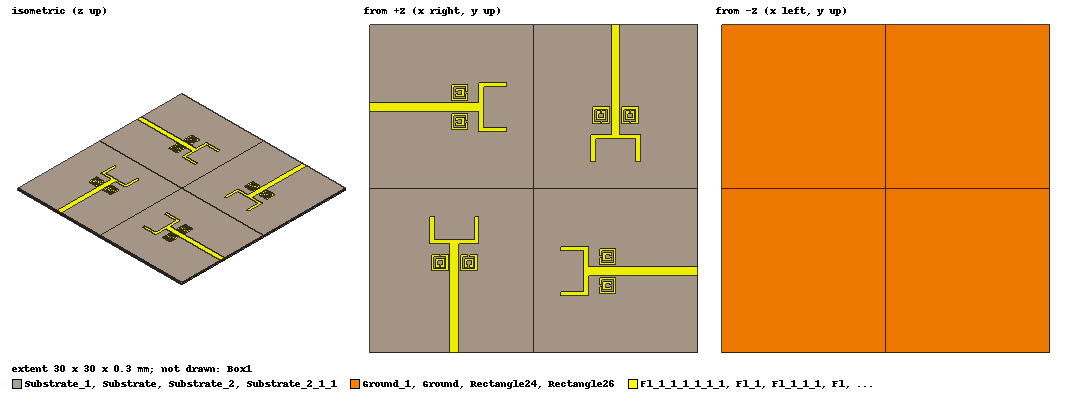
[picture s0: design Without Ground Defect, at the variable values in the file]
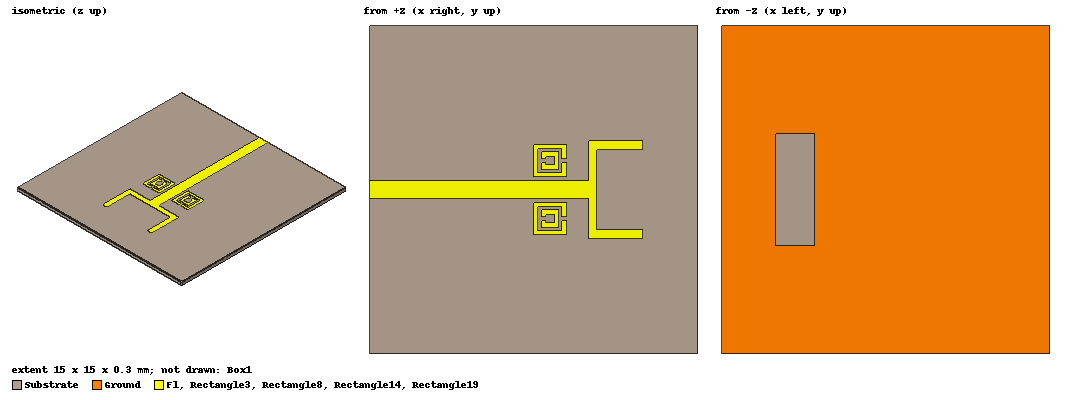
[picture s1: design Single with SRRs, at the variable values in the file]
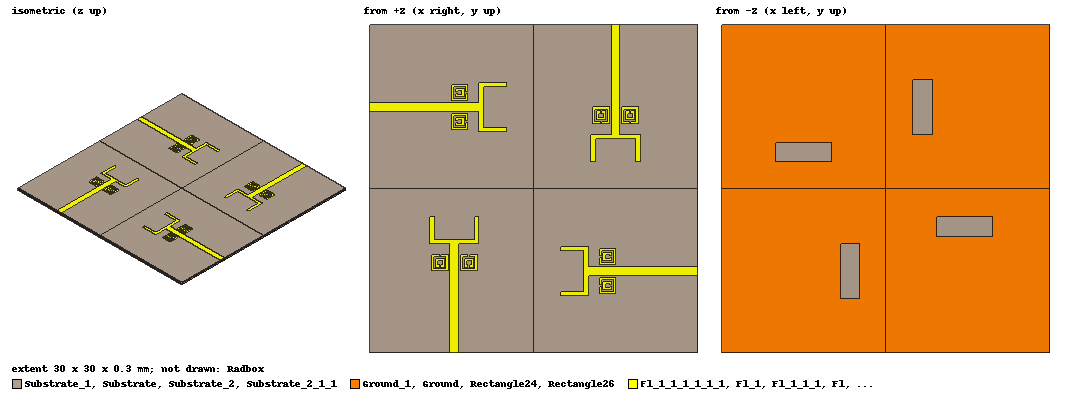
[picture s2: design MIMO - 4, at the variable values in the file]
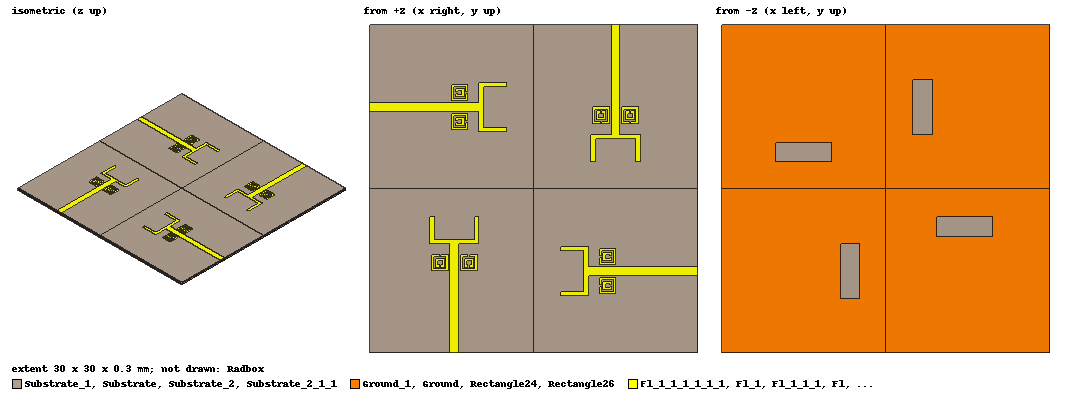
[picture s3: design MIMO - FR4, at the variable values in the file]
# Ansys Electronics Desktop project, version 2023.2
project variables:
  $L = 10mm
  $Y = 0.2mm
  $YL = 7
  $UL = 1mm
  $dist = 2.5Ns_per_m
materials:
  vacuum: permittivity=1
  FR4_epoxy: permittivity=4.4 dielectric_loss_tangent=0.02
  air: permittivity=1.0006 permeability=1.0000004
  Rogers RO4350 (tm): permittivity=3.66 dielectric_loss_tangent=0.004
  pec: conductivity=1e+30
  brass: conductivity=15000000
  Teflon (tm): permittivity=2.1 dielectric_loss_tangent=0.001
  Rogers RO4003 (tm): permittivity=3.55 dielectric_loss_tangent=0.0027

design Without Ground Defect (HFSS, HFSS Modal Network, model units mm)
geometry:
  Ground = rectangle(corner=(0mm, 0mm, 0mm), x_size=15mm, y_size=15mm)
  Substrate [Rogers RO4003 (tm)] = box(corner=(0mm, 0mm, 0mm), size=(15mm, 15mm, 0.3mm))
  Fl = rectangle(corner=(0mm, 7.1mm, 0.3mm), x_size=10mm, y_size=0.8mm)
  Uout = rectangle(corner=(10mm, 5.25mm, 0.3mm), x_size=2.5mm, y_size=4.5mm)
  Usubtracted = rectangle(corner=(10.4mm, 5.65mm, 0.3mm), x_size=2.1mm, y_size=3.7mm)
  Uout.subtract(Usubtracted)
  Fl.unite(Uout)
  Rectangle2 = rectangle(corner=(0mm, 7.9mm, 0.3mm), y_size=-0.8mm, z_size=-0.3mm)
  Rectangle3 = rectangle(corner=(7.5mm, 9.375mm, 0.3mm), x_size=1.5mm, y_size=0.2mm)
  Rectangle4 = rectangle(corner=(7.5mm, 8.075mm, 0.3mm), x_size=0.2mm, y_size=1.5mm)
  Rectangle5 = rectangle(corner=(7.5mm, 8.075mm, 0.3mm), x_size=1.5mm, y_size=0.2mm)
  Rectangle6 = rectangle(corner=(8.8mm, 8.075mm, 0.3mm), x_size=0.2mm, y_size=1.5mm)
  Rectangle7 = rectangle(corner=(8.8mm, 8.75mm, 0.3mm), x_size=0.2mm, y_size=0.15mm)
  Rectangle6.subtract(Rectangle7)
  Rectangle8 = rectangle(corner=(7.5mm, 6.725mm, 0.3mm), x_size=1.5mm, y_size=0.2mm)
  Rectangle9 = rectangle(corner=(7.5mm, 5.425mm, 0.3mm), x_size=0.2mm, y_size=1.5mm)
  Rectangle10 = rectangle(corner=(7.5mm, 5.425mm, 0.3mm), x_size=1.5mm, y_size=0.2mm)
  Rectangle11 = rectangle(corner=(8.8mm, 5.425mm, 0.3mm), x_size=0.2mm, y_size=1.5mm)
  Rectangle12 = rectangle(corner=(8.8mm, 8.95mm, 0.3mm), x_size=0.2mm, y_size=0.15mm)
  Rectangle11.subtract(Rectangle12)
  Rectangle13 = rectangle(corner=(8.8mm, 6.105mm, 0.3mm), x_size=0.2mm, y_size=0.15mm)
  Rectangle11.subtract(Rectangle13)
  Rectangle14 = rectangle(corner=(7.85mm, 8.425mm, 0.3mm), x_size=0.2mm, y_size=0.8mm)
  Rectangle15 = rectangle(corner=(7.85mm, 8.425mm, 0.3mm), x_size=0.8mm, y_size=0.2mm)
  Rectangle16 = rectangle(corner=(7.85mm, 9.025mm, 0.3mm), x_size=0.8mm, y_size=0.2mm)
  Rectangle17 = rectangle(corner=(8.45mm, 8.425mm, 0.3mm), x_size=0.2mm, y_size=0.8mm)
  Rectangle18 = rectangle(corner=(7.85mm, 8.75mm, 0.3mm), x_size=0.2mm, y_size=0.15mm)
  Rectangle14.subtract(Rectangle18)
  Rectangle19 = rectangle(corner=(7.85mm, 5.775mm, 0.3mm), x_size=0.8mm, y_size=0.2mm)
  Rectangle20 = rectangle(corner=(7.85mm, 5.775mm, 0.3mm), x_size=0.2mm, y_size=0.8mm)
  Rectangle21 = rectangle(corner=(7.85mm, 6.375mm, 0.3mm), x_size=0.8mm, y_size=0.2mm)
  Rectangle22 = rectangle(corner=(8.45mm, 5.775mm, 0.3mm), x_size=0.2mm, y_size=0.8mm)
  Rectangle23 = rectangle(corner=(7.85mm, 6.105mm, 0.3mm), x_size=0.2mm, y_size=0.15mm)
  Rectangle20.subtract(Rectangle23)
  Rectangle3.unite(Rectangle4, Rectangle5, Rectangle6)
  Rectangle8.unite(Rectangle9, Rectangle10, Rectangle11)
  Rectangle14.unite(Rectangle15, Rectangle16, Rectangle17)
  Rectangle19.unite(Rectangle20, Rectangle21, Rectangle22)
  coordinate_system RelativeCS1 = origin=(0mm, 0mm, 0mm) x=(1mm, 0mm, 0mm) y=(0mm, 1mm, 0mm)
  coordinate_system RelativeCS2 = origin=(6.7592334mm, 7.5mm, 0.3mm) x=(1mm, 0mm, 0mm) y=(0mm, 1mm, 0mm) in RelativeCS1
  Ground_1 = Ground.duplicate_along_line(step=(15mm, 0mm, 0mm), total=2) in RelativeCS2
  Substrate_1 [Rogers RO4003 (tm)] = Substrate.duplicate_along_line(step=(15mm, 0mm, 0mm), total=2) in RelativeCS2
  Fl_1 = Fl.duplicate_along_line(step=(15mm, 0mm, 0mm), total=2) in RelativeCS2
  Rectangle3_1 = Rectangle3.duplicate_along_line(step=(15mm, 0mm, 0mm), total=2) in RelativeCS2
  Rectangle8_1 = Rectangle8.duplicate_along_line(step=(15mm, 0mm, 0mm), total=2) in RelativeCS2
  Rectangle14_1 = Rectangle14.duplicate_along_line(step=(15mm, 0mm, 0mm), total=2) in RelativeCS2
  Rectangle19_1 = Rectangle19.duplicate_along_line(step=(15mm, 0mm, 0mm), total=2) in RelativeCS2
  [Ground_1, Substrate_1, Fl_1, Rectangle3_1, Rectangle8_1, Rectangle14_1, Rectangle19_1].mirror(point=(8.2407666mm, 7.5mm, 0mm), normal=(-0.70710678mm, -0.70710678mm, 0mm)) in RelativeCS2
  Substrate_2 [Rogers RO4003 (tm)] = Substrate.duplicate_along_line(step=(0mm, -15mm, 0mm), total=2) in RelativeCS2
  Substrate_2_1 = Substrate_2.duplicate_along_line(step=(15mm, -2.6645353e-15mm, 0mm), total=2) in RelativeCS2
  Substrate_2_1.move(15mm, 0mm, 0mm) in RelativeCS2
  Substrate_2_1_1 [Rogers RO4003 (tm)] = Substrate_2_1.duplicate_along_line(step=(-15mm, 0mm, 0mm), total=2) in RelativeCS2
  Substrate_2_1.delete()
  Rectangle24 = rectangle(corner=(8.2407666mm, -22.5mm, -0.3mm), x_size=15mm, y_size=15mm) in RelativeCS2
  Fl_1_1 = Fl_1.duplicate_along_line(step=(-7.5mm, 3.5527137e-15mm, 0mm), total=2) in RelativeCS2
  Rectangle8_1_1 = Rectangle8_1.duplicate_along_line(step=(-7.5mm, 3.5527137e-15mm, 0mm), total=2) in RelativeCS2
  Rectangle19_1_1 = Rectangle19_1.duplicate_along_line(step=(-7.5mm, 3.5527137e-15mm, 0mm), total=2) in RelativeCS2
  Rectangle14_1_1 = Rectangle14_1.duplicate_along_line(step=(-7.5mm, 3.5527137e-15mm, 0mm), total=2) in RelativeCS2
  Rectangle3_1_1 = Rectangle3_1.duplicate_along_line(step=(-7.5mm, 3.5527137e-15mm, 0mm), total=2) in RelativeCS2
  [Fl_1_1, Rectangle19_1_1, Rectangle8_1_1, Rectangle3_1_1, Rectangle14_1_1].move(-1.4210855e-14mm, -30mm, 0mm) in RelativeCS2
  [Fl_1_1, Rectangle8_1_1, Rectangle19_1_1, Rectangle14_1_1, Rectangle3_1_1].rotate(axis=Z, angle=-180deg) in RelativeCS2
  Rectangle26 = rectangle(corner=(8.2407666mm, -7.5mm, -0.3mm), x_size=-15mm, y_size=-15mm) in RelativeCS2
  [Fl_1_1, Rectangle8_1_1, Rectangle19_1_1, Rectangle14_1_1, Rectangle3_1_1].move(-0.25923345mm, -45mm, 0mm) in RelativeCS2
  Fl_1_1_1 = Fl_1_1.duplicate_along_line(step=(9.5mm, 0mm, 0mm), total=2) in RelativeCS2
  Fl_1_1.delete()
  Rectangle8_1_1_1 = Rectangle8_1_1.duplicate_along_line(step=(9.5mm, 0mm, 0mm), total=2) in RelativeCS2
  Rectangle8_1_1.delete()
  Rectangle19_1_1_1 = Rectangle19_1_1.duplicate_along_line(step=(9.5mm, 0mm, 0mm), total=2) in RelativeCS2
  Rectangle19_1_1.delete()
  Rectangle14_1_1_1 = Rectangle14_1_1.duplicate_along_line(step=(9.5mm, 0mm, 0mm), total=2) in RelativeCS2
  Rectangle14_1_1.delete()
  Rectangle3_1_1_1 = Rectangle3_1_1.duplicate_along_line(step=(9.5mm, 0mm, 0mm), total=2) in RelativeCS2
  Rectangle3_1_1.delete()
  Fl_1_1_1_1 = Fl_1_1_1.duplicate_along_line(step=(0mm, -13.5mm, 0mm), total=2) in RelativeCS2
  Rectangle3_1_1_1_1 = Rectangle3_1_1_1.duplicate_along_line(step=(0mm, -13.5mm, 0mm), total=2) in RelativeCS2
  Rectangle14_1_1_1_1 = Rectangle14_1_1_1.duplicate_along_line(step=(0mm, -13.5mm, 0mm), total=2) in RelativeCS2
  Rectangle8_1_1_1_1 = Rectangle8_1_1_1.duplicate_along_line(step=(0mm, -13.5mm, 0mm), total=2) in RelativeCS2
  Rectangle19_1_1_1_1 = Rectangle19_1_1_1.duplicate_along_line(step=(0mm, -13.5mm, 0mm), total=2) in RelativeCS2
  [Fl_1_1_1_1, Rectangle3_1_1_1_1, Rectangle14_1_1_1_1, Rectangle8_1_1_1_1, Rectangle19_1_1_1_1].rotate(axis=Z, angle=90deg) in RelativeCS2
  Fl_1_1_1_1_1 = Fl_1_1_1_1.duplicate_along_line(step=(0mm, -16mm, 0mm), total=2) in RelativeCS2
  Fl_1_1_1_1.delete()
  Rectangle8_1_1_1_1_1 = Rectangle8_1_1_1_1.duplicate_along_line(step=(0mm, -16mm, 0mm), total=2) in RelativeCS2
  Rectangle8_1_1_1_1.delete()
  Rectangle19_1_1_1_1_1 = Rectangle19_1_1_1_1.duplicate_along_line(step=(0mm, -16mm, 0mm), total=2) in RelativeCS2
  Rectangle19_1_1_1_1.delete()
  Rectangle3_1_1_1_1_1 = Rectangle3_1_1_1_1.duplicate_along_line(step=(0mm, -16mm, 0mm), total=2) in RelativeCS2
  Rectangle3_1_1_1_1.delete()
  Rectangle14_1_1_1_1_1 = Rectangle14_1_1_1_1.duplicate_along_line(step=(0mm, -16mm, 0mm), total=2) in RelativeCS2
  Rectangle14_1_1_1_1.delete()
  Fl_1_1_1_1_1_1 = Fl_1_1_1_1_1.duplicate_along_line(step=(-12.759233mm, 0mm, 0mm), total=2) in RelativeCS2
  Fl_1_1_1_1_1.delete()
  Rectangle8_1_1_1_1_1_1 = Rectangle8_1_1_1_1_1.duplicate_along_line(step=(-12.759233mm, 0mm, 0mm), total=2) in RelativeCS2
  Rectangle8_1_1_1_1_1.delete()
  Rectangle19_1_1_1_1_1_1 = Rectangle19_1_1_1_1_1.duplicate_along_line(step=(-12.759233mm, 0mm, 0mm), total=2) in RelativeCS2
  Rectangle19_1_1_1_1_1.delete()
  Rectangle3_1_1_1_1_1_1 = Rectangle3_1_1_1_1_1.duplicate_along_line(step=(-12.759233mm, 0mm, 0mm), total=2) in RelativeCS2
  Rectangle3_1_1_1_1_1.delete()
  Rectangle14_1_1_1_1_1_1 = Rectangle14_1_1_1_1_1.duplicate_along_line(step=(-12.759233mm, 0mm, 0mm), total=2) in RelativeCS2
  Rectangle14_1_1_1_1_1.delete()
  Rectangle28 = rectangle(corner=(0.6mm, -22.5mm, 0mm), z_size=-0.3mm, x_size=0.8mm) in RelativeCS2
  Rectangle29 = rectangle(corner=(23.240767mm, -15.4mm, 0mm), y_size=0.8mm, z_size=-0.3mm) in RelativeCS2
  Rectangle30 = rectangle(corner=(16.140767mm, 7.5mm, 0mm), z_size=-0.3mm, x_size=-0.80076655mm) in RelativeCS2
  Rectangle2_1 = Rectangle2.duplicate_along_line(step=(30mm, -2.3092639e-14mm, 0mm), total=2) in RelativeCS2
  Box1 [vacuum] = box(corner=(-10mm, -26mm, -2mm), size=(38mm, 38mm, 4mm)) in RelativeCS2
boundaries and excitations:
  PerfE2: Perfect E Objects=Fl
  PerfE3: Perfect E Objects=Ground
  PerfE4: Perfect E Objects=Rectangle3
  PerfE5: Perfect E Objects=Rectangle8
  PerfE6: Perfect E Objects=Rectangle14
  PerfE7: Perfect E Objects=Rectangle19
  PerfE8: Perfect E Objects=Fl_1
  PerfE9: Perfect E Objects=Ground_1
  PerfE10: Perfect E Objects=Rectangle3_1
  PerfE11: Perfect E Objects=Rectangle8_1
  PerfE12: Perfect E Objects=Rectangle14_1
  PerfE13: Perfect E Objects=Rectangle19_1
  PerfE31: Perfect E Objects=Rectangle24
  PerfE32: Perfect E Objects=Fl_1_1_1
  PerfE33: Perfect E Objects=Rectangle3_1_1_1
  PerfE34: Perfect E Objects=Rectangle8_1_1_1
  PerfE35: Perfect E Objects=Rectangle14_1_1_1
  PerfE36: Perfect E Objects=Rectangle19_1_1_1
  PerfE37: Perfect E Objects=Rectangle26
  PerfE48: Perfect E Objects=Fl_1_1_1_1_1_1
  PerfE49: Perfect E Objects=Rectangle3_1_1_1_1_1_1
  PerfE50: Perfect E Objects=Rectangle8_1_1_1_1_1_1
  PerfE51: Perfect E Objects=Rectangle14_1_1_1_1_1_1
  PerfE52: Perfect E Objects=Rectangle19_1_1_1_1_1_1
  Rad1: Radiation Objects=Box1
  1: Lumped Port Objects=Rectangle2 LumpedPortType=Modal Modes{Mode1{IntLine{(0, 7.5, 0.15) -> (0, 7.5, 0.3)} CharImp=Zpi RenormImp=50ohm}} Impedance=50ohm
  5: Lumped Port Objects=Rectangle28 LumpedPortType=Modal Modes{Mode1{IntLine{(7.7592334, -15, 0) -> (7.7592334, -15, 0.3)} CharImp=Zpi RenormImp=50ohm}} Impedance=50ohm
  6: Lumped Port Objects=Rectangle29 LumpedPortType=Modal Modes{Mode1{IntLine{(30, -7.5, 0) -> (30, -7.5, 0.3)} CharImp=Zpi RenormImp=50ohm}} Impedance=50ohm
  7: Lumped Port Objects=Rectangle30 LumpedPortType=Modal Modes{Mode1{IntLine{(22.5, 15, 0) -> (22.499617, 15, 0.3)} CharImp=Zpi RenormImp=50ohm}} Impedance=50ohm
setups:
  Setup1: HfssDriven MultipleAdaptiveFreqsSetup{AdaptAt{Frequency=28GHz Delta=0.02} AdaptAt{Frequency=36GHz Delta=0.02}} MaximumPasses=8 MinimumPasses=1 MinimumConvergedPasses=1 PercentRefinement=30 BasisOrder=1 PortAccuracy=2 DrivenSolverType="Direct Solver"
    sweep Sweep: 26GHz to 40GHz, 401 points; Type=Fast SaveFields
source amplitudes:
  1:1: 1V 0deg
  5:1, 6:1, 7:1: 0V 0deg
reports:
  Without SRR: dB(S(1,1)) vs Freq on Setup1 : Sweep
  With SRR: dB(S(1,1)) vs Freq on Setup1 : Sweep
  S Parameter Plot 1: dB(S(1,1)) vs Freq on Setup1 : Sweep
  S Parameter Plot 3: dB(S(1,1)), dB(S(5,1)), dB(S(6,1)), dB(S(7,1)) vs Freq on Setup1 : Sweep

design Single with SRRs (HFSS, HFSS Modal Network, model units mm)
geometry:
  Ground = rectangle(corner=(0mm, 0mm, 0mm), x_size=15mm, y_size=15mm)
  Substrate [Rogers RO4003 (tm)] = box(corner=(0mm, 0mm, 0mm), size=(15mm, 15mm, 0.3mm))
  Fl = rectangle(corner=(0mm, 7.1mm, 0.3mm), x_size=10mm, y_size=0.8mm)
  Uout = rectangle(corner=(10mm, 5.25mm, 0.3mm), x_size=2.5mm, y_size=4.5mm)
  Usubtracted = rectangle(corner=(10.4mm, 5.65mm, 0.3mm), x_size=2.1mm, y_size=3.7mm)
  Uout.subtract(Usubtracted)
  Fl.unite(Uout)
  Rectangle1 = rectangle(corner=(10.725mm, 4.95mm, 0mm), x_size=1.8mm, y_size=5.1mm)
  Rectangle2 = rectangle(corner=(0mm, 7.9mm, 0.3mm), y_size=-0.8mm, z_size=-0.3mm)
  Ground.subtract(Rectangle1)
  Rectangle3 = rectangle(corner=(7.5mm, 9.375mm, 0.3mm), x_size=1.5mm, y_size=0.2mm)
  Rectangle4 = rectangle(corner=(7.5mm, 8.075mm, 0.3mm), x_size=0.2mm, y_size=1.5mm)
  Rectangle5 = rectangle(corner=(7.5mm, 8.075mm, 0.3mm), x_size=1.5mm, y_size=0.2mm)
  Rectangle6 = rectangle(corner=(8.8mm, 8.075mm, 0.3mm), x_size=0.2mm, y_size=1.5mm)
  Rectangle7 = rectangle(corner=(8.8mm, 8.75mm, 0.3mm), x_size=0.2mm, y_size=0.15mm)
  Rectangle6.subtract(Rectangle7)
  Rectangle8 = rectangle(corner=(7.5mm, 6.725mm, 0.3mm), x_size=1.5mm, y_size=0.2mm)
  Rectangle9 = rectangle(corner=(7.5mm, 5.425mm, 0.3mm), x_size=0.2mm, y_size=1.5mm)
  Rectangle10 = rectangle(corner=(7.5mm, 5.425mm, 0.3mm), x_size=1.5mm, y_size=0.2mm)
  Rectangle11 = rectangle(corner=(8.8mm, 5.425mm, 0.3mm), x_size=0.2mm, y_size=1.5mm)
  Rectangle12 = rectangle(corner=(8.8mm, 8.95mm, 0.3mm), x_size=0.2mm, y_size=0.15mm)
  Rectangle11.subtract(Rectangle12)
  Rectangle13 = rectangle(corner=(8.8mm, 6.105mm, 0.3mm), x_size=0.2mm, y_size=0.15mm)
  Rectangle11.subtract(Rectangle13)
  Rectangle14 = rectangle(corner=(7.85mm, 8.425mm, 0.3mm), x_size=0.2mm, y_size=0.8mm)
  Rectangle15 = rectangle(corner=(7.85mm, 8.425mm, 0.3mm), x_size=0.8mm, y_size=0.2mm)
  Rectangle16 = rectangle(corner=(7.85mm, 9.025mm, 0.3mm), x_size=0.8mm, y_size=0.2mm)
  Rectangle17 = rectangle(corner=(8.45mm, 8.425mm, 0.3mm), x_size=0.2mm, y_size=0.8mm)
  Rectangle18 = rectangle(corner=(7.85mm, 8.75mm, 0.3mm), x_size=0.2mm, y_size=0.15mm)
  Rectangle14.subtract(Rectangle18)
  Rectangle19 = rectangle(corner=(7.85mm, 5.775mm, 0.3mm), x_size=0.8mm, y_size=0.2mm)
  Rectangle20 = rectangle(corner=(7.85mm, 5.775mm, 0.3mm), x_size=0.2mm, y_size=0.8mm)
  Rectangle21 = rectangle(corner=(7.85mm, 6.375mm, 0.3mm), x_size=0.8mm, y_size=0.2mm)
  Rectangle22 = rectangle(corner=(8.45mm, 5.775mm, 0.3mm), x_size=0.2mm, y_size=0.8mm)
  Rectangle23 = rectangle(corner=(7.85mm, 6.105mm, 0.3mm), x_size=0.2mm, y_size=0.15mm)
  Rectangle20.subtract(Rectangle23)
  Rectangle3.unite(Rectangle4, Rectangle5, Rectangle6)
  Rectangle8.unite(Rectangle9, Rectangle10, Rectangle11)
  Rectangle14.unite(Rectangle15, Rectangle16, Rectangle17)
  Rectangle19.unite(Rectangle20, Rectangle21, Rectangle22)
  Box1 [vacuum] = box(corner=(-2mm, -2mm, 1mm), size=(20mm, 20mm, -2mm))
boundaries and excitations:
  PerfE2: Perfect E Objects=Fl
  PerfE3: Perfect E Objects=Ground
  PerfE4: Perfect E Objects=Rectangle3
  PerfE5: Perfect E Objects=Rectangle8
  PerfE6: Perfect E Objects=Rectangle14
  PerfE7: Perfect E Objects=Rectangle19
  Rad1: Radiation Objects=Box1
  1: Lumped Port Objects=Rectangle2 LumpedPortType=Modal Modes{Mode1{IntLine{(0, 7.5, 0.15) -> (0, 7.5, 0.3)} CharImp=Zpi RenormImp=50ohm}} Impedance=50ohm
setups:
  Setup1: HfssDriven MultipleAdaptiveFreqsSetup{AdaptAt{Frequency=28GHz Delta=0.02} AdaptAt{Frequency=36GHz Delta=0.02}} MaximumPasses=8 MinimumPasses=1 MinimumConvergedPasses=1 PercentRefinement=30 BasisOrder=1 PortAccuracy=2 DrivenSolverType="Direct Solver"
    sweep Sweep: 26GHz to 40GHz, 401 points; Type=Fast SaveFields
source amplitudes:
  1:1: 1V 0deg
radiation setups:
  Infinite Sphere1: Infinite Sphere Theta=0deg..360deg step 2deg Phi=-180deg..180deg step 2deg
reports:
  With SRR: dB(S(1,1)) vs Freq on Setup1 : Sweep
  S Parameter Plot 1: dB(S(1,1)) vs Freq on Setup1 : Sweep
  Gain Plot 1: dB(GainTotal) vs Theta on Setup1 : LastAdaptive, Infinite Sphere1 [Phi=180deg Freq=28GHz]
  Gain Plot 2: dB(GainTotal) vs Phi, Theta on Setup1 : LastAdaptive, Infinite Sphere1 [Freq=28GHz]

design MIMO - 4 (HFSS, HFSS Modal Network, model units mm)
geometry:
  Ground = rectangle(corner=(0mm, 0mm, 0mm), x_size=15mm, y_size=15mm)
  Substrate [Rogers RO4003 (tm)] = box(corner=(0mm, 0mm, 0mm), size=(15mm, 15mm, 0.3mm))
  Fl = rectangle(corner=(0mm, 7.1mm, 0.3mm), x_size=10mm, y_size=0.8mm)
  Uout = rectangle(corner=(10mm, 5.25mm, 0.3mm), x_size=2.5mm, y_size=4.5mm)
  Usubtracted = rectangle(corner=(10.4mm, 5.65mm, 0.3mm), x_size=2.1mm, y_size=3.7mm)
  Uout.subtract(Usubtracted)
  Fl.unite(Uout)
  Rectangle1 = rectangle(corner=(10.725mm, 4.95mm, 0mm), x_size=1.8mm, y_size=5.1mm)
  Rectangle2 = rectangle(corner=(0mm, 7.9mm, 0.3mm), y_size=-0.8mm, z_size=-0.3mm)
  Ground.subtract(Rectangle1)
  Rectangle3 = rectangle(corner=(7.5mm, 9.375mm, 0.3mm), x_size=1.5mm, y_size=0.2mm)
  Rectangle4 = rectangle(corner=(7.5mm, 8.075mm, 0.3mm), x_size=0.2mm, y_size=1.5mm)
  Rectangle5 = rectangle(corner=(7.5mm, 8.075mm, 0.3mm), x_size=1.5mm, y_size=0.2mm)
  Rectangle6 = rectangle(corner=(8.8mm, 8.075mm, 0.3mm), x_size=0.2mm, y_size=1.5mm)
  Rectangle7 = rectangle(corner=(8.8mm, 8.75mm, 0.3mm), x_size=0.2mm, y_size=0.15mm)
  Rectangle6.subtract(Rectangle7)
  Rectangle8 = rectangle(corner=(7.5mm, 6.725mm, 0.3mm), x_size=1.5mm, y_size=0.2mm)
  Rectangle9 = rectangle(corner=(7.5mm, 5.425mm, 0.3mm), x_size=0.2mm, y_size=1.5mm)
  Rectangle10 = rectangle(corner=(7.5mm, 5.425mm, 0.3mm), x_size=1.5mm, y_size=0.2mm)
  Rectangle11 = rectangle(corner=(8.8mm, 5.425mm, 0.3mm), x_size=0.2mm, y_size=1.5mm)
  Rectangle12 = rectangle(corner=(8.8mm, 8.95mm, 0.3mm), x_size=0.2mm, y_size=0.15mm)
  Rectangle11.subtract(Rectangle12)
  Rectangle13 = rectangle(corner=(8.8mm, 6.105mm, 0.3mm), x_size=0.2mm, y_size=0.15mm)
  Rectangle11.subtract(Rectangle13)
  Rectangle14 = rectangle(corner=(7.85mm, 8.425mm, 0.3mm), x_size=0.2mm, y_size=0.8mm)
  Rectangle15 = rectangle(corner=(7.85mm, 8.425mm, 0.3mm), x_size=0.8mm, y_size=0.2mm)
  Rectangle16 = rectangle(corner=(7.85mm, 9.025mm, 0.3mm), x_size=0.8mm, y_size=0.2mm)
  Rectangle17 = rectangle(corner=(8.45mm, 8.425mm, 0.3mm), x_size=0.2mm, y_size=0.8mm)
  Rectangle18 = rectangle(corner=(7.85mm, 8.75mm, 0.3mm), x_size=0.2mm, y_size=0.15mm)
  Rectangle14.subtract(Rectangle18)
  Rectangle19 = rectangle(corner=(7.85mm, 5.775mm, 0.3mm), x_size=0.8mm, y_size=0.2mm)
  Rectangle20 = rectangle(corner=(7.85mm, 5.775mm, 0.3mm), x_size=0.2mm, y_size=0.8mm)
  Rectangle21 = rectangle(corner=(7.85mm, 6.375mm, 0.3mm), x_size=0.8mm, y_size=0.2mm)
  Rectangle22 = rectangle(corner=(8.45mm, 5.775mm, 0.3mm), x_size=0.2mm, y_size=0.8mm)
  Rectangle23 = rectangle(corner=(7.85mm, 6.105mm, 0.3mm), x_size=0.2mm, y_size=0.15mm)
  Rectangle20.subtract(Rectangle23)
  Rectangle3.unite(Rectangle4, Rectangle5, Rectangle6)
  Rectangle8.unite(Rectangle9, Rectangle10, Rectangle11)
  Rectangle14.unite(Rectangle15, Rectangle16, Rectangle17)
  Rectangle19.unite(Rectangle20, Rectangle21, Rectangle22)
  coordinate_system RelativeCS1 = origin=(0mm, 0mm, 0mm) x=(1mm, 0mm, 0mm) y=(0mm, 1mm, 0mm)
  coordinate_system RelativeCS2 = origin=(6.7592334mm, 7.5mm, 0.3mm) x=(1mm, 0mm, 0mm) y=(0mm, 1mm, 0mm) in RelativeCS1
  Ground_1 = Ground.duplicate_along_line(step=(15mm, 0mm, 0mm), total=2) in RelativeCS2
  Substrate_1 [Rogers RO4003 (tm)] = Substrate.duplicate_along_line(step=(15mm, 0mm, 0mm), total=2) in RelativeCS2
  Fl_1 = Fl.duplicate_along_line(step=(15mm, 0mm, 0mm), total=2) in RelativeCS2
  Rectangle3_1 = Rectangle3.duplicate_along_line(step=(15mm, 0mm, 0mm), total=2) in RelativeCS2
  Rectangle8_1 = Rectangle8.duplicate_along_line(step=(15mm, 0mm, 0mm), total=2) in RelativeCS2
  Rectangle14_1 = Rectangle14.duplicate_along_line(step=(15mm, 0mm, 0mm), total=2) in RelativeCS2
  Rectangle19_1 = Rectangle19.duplicate_along_line(step=(15mm, 0mm, 0mm), total=2) in RelativeCS2
  [Ground_1, Substrate_1, Fl_1, Rectangle3_1, Rectangle8_1, Rectangle14_1, Rectangle19_1].mirror(point=(8.2407666mm, 7.5mm, 0mm), normal=(-0.70710678mm, -0.70710678mm, 0mm)) in RelativeCS2
  Substrate_2 [Rogers RO4003 (tm)] = Substrate.duplicate_along_line(step=(0mm, -15mm, 0mm), total=2) in RelativeCS2
  Substrate_2_1 = Substrate_2.duplicate_along_line(step=(15mm, -2.6645353e-15mm, 0mm), total=2) in RelativeCS2
  Substrate_2_1.move(15mm, 0mm, 0mm) in RelativeCS2
  Substrate_2_1_1 [Rogers RO4003 (tm)] = Substrate_2_1.duplicate_along_line(step=(-15mm, 0mm, 0mm), total=2) in RelativeCS2
  Substrate_2_1.delete()
  Rectangle24 = rectangle(corner=(8.2407666mm, -22.5mm, -0.3mm), x_size=15mm, y_size=15mm) in RelativeCS2
  Rectangle25 = rectangle(corner=(9.9375mm, -18mm, -0.3mm), x_size=1.8mm, y_size=5.1mm) in RelativeCS2
  Rectangle25.move(0.6625mm, 0.45mm, 0mm) in RelativeCS2
  Rectangle25.move(0.1mm, 0mm, 0mm) in RelativeCS2
  Rectangle25.move(-0.1mm, 0mm, 0mm) in RelativeCS2
  Rectangle24.subtract(Rectangle25)
  Fl_1_1 = Fl_1.duplicate_along_line(step=(-7.5mm, 3.5527137e-15mm, 0mm), total=2) in RelativeCS2
  Rectangle8_1_1 = Rectangle8_1.duplicate_along_line(step=(-7.5mm, 3.5527137e-15mm, 0mm), total=2) in RelativeCS2
  Rectangle19_1_1 = Rectangle19_1.duplicate_along_line(step=(-7.5mm, 3.5527137e-15mm, 0mm), total=2) in RelativeCS2
  Rectangle14_1_1 = Rectangle14_1.duplicate_along_line(step=(-7.5mm, 3.5527137e-15mm, 0mm), total=2) in RelativeCS2
  Rectangle3_1_1 = Rectangle3_1.duplicate_along_line(step=(-7.5mm, 3.5527137e-15mm, 0mm), total=2) in RelativeCS2
  [Fl_1_1, Rectangle19_1_1, Rectangle8_1_1, Rectangle3_1_1, Rectangle14_1_1].move(-1.4210855e-14mm, -30mm, 0mm) in RelativeCS2
  [Fl_1_1, Rectangle8_1_1, Rectangle19_1_1, Rectangle14_1_1, Rectangle3_1_1].rotate(axis=Z, angle=-180deg) in RelativeCS2
  Rectangle26 = rectangle(corner=(8.2407666mm, -7.5mm, -0.3mm), x_size=-15mm, y_size=-15mm) in RelativeCS2
  [Fl_1_1, Rectangle8_1_1, Rectangle19_1_1, Rectangle14_1_1, Rectangle3_1_1].move(-0.25923345mm, -45mm, 0mm) in RelativeCS2
  Fl_1_1_1 = Fl_1_1.duplicate_along_line(step=(9.5mm, 0mm, 0mm), total=2) in RelativeCS2
  Fl_1_1.delete()
  Rectangle8_1_1_1 = Rectangle8_1_1.duplicate_along_line(step=(9.5mm, 0mm, 0mm), total=2) in RelativeCS2
  Rectangle8_1_1.delete()
  Rectangle19_1_1_1 = Rectangle19_1_1.duplicate_along_line(step=(9.5mm, 0mm, 0mm), total=2) in RelativeCS2
  Rectangle19_1_1.delete()
  Rectangle14_1_1_1 = Rectangle14_1_1.duplicate_along_line(step=(9.5mm, 0mm, 0mm), total=2) in RelativeCS2
  Rectangle14_1_1.delete()
  Rectangle3_1_1_1 = Rectangle3_1_1.duplicate_along_line(step=(9.5mm, 0mm, 0mm), total=2) in RelativeCS2
  Rectangle3_1_1.delete()
  Rectangle27 = rectangle(corner=(-1.55mm, -11.8mm, -0.3mm), x_size=5.1mm, y_size=1.8mm) in RelativeCS2
  Rectangle26.subtract(Rectangle27)
  Fl_1_1_1_1 = Fl_1_1_1.duplicate_along_line(step=(0mm, -13.5mm, 0mm), total=2) in RelativeCS2
  Rectangle3_1_1_1_1 = Rectangle3_1_1_1.duplicate_along_line(step=(0mm, -13.5mm, 0mm), total=2) in RelativeCS2
  Rectangle14_1_1_1_1 = Rectangle14_1_1_1.duplicate_along_line(step=(0mm, -13.5mm, 0mm), total=2) in RelativeCS2
  Rectangle8_1_1_1_1 = Rectangle8_1_1_1.duplicate_along_line(step=(0mm, -13.5mm, 0mm), total=2) in RelativeCS2
  Rectangle19_1_1_1_1 = Rectangle19_1_1_1.duplicate_along_line(step=(0mm, -13.5mm, 0mm), total=2) in RelativeCS2
  [Fl_1_1_1_1, Rectangle3_1_1_1_1, Rectangle14_1_1_1_1, Rectangle8_1_1_1_1, Rectangle19_1_1_1_1].rotate(axis=Z, angle=90deg) in RelativeCS2
  Fl_1_1_1_1_1 = Fl_1_1_1_1.duplicate_along_line(step=(0mm, -16mm, 0mm), total=2) in RelativeCS2
  Fl_1_1_1_1.delete()
  Rectangle8_1_1_1_1_1 = Rectangle8_1_1_1_1.duplicate_along_line(step=(0mm, -16mm, 0mm), total=2) in RelativeCS2
  Rectangle8_1_1_1_1.delete()
  Rectangle19_1_1_1_1_1 = Rectangle19_1_1_1_1.duplicate_along_line(step=(0mm, -16mm, 0mm), total=2) in RelativeCS2
  Rectangle19_1_1_1_1.delete()
  Rectangle3_1_1_1_1_1 = Rectangle3_1_1_1_1.duplicate_along_line(step=(0mm, -16mm, 0mm), total=2) in RelativeCS2
  Rectangle3_1_1_1_1.delete()
  Rectangle14_1_1_1_1_1 = Rectangle14_1_1_1_1.duplicate_along_line(step=(0mm, -16mm, 0mm), total=2) in RelativeCS2
  Rectangle14_1_1_1_1.delete()
  Fl_1_1_1_1_1_1 = Fl_1_1_1_1_1.duplicate_along_line(step=(-12.759233mm, 0mm, 0mm), total=2) in RelativeCS2
  Fl_1_1_1_1_1.delete()
  Rectangle8_1_1_1_1_1_1 = Rectangle8_1_1_1_1_1.duplicate_along_line(step=(-12.759233mm, 0mm, 0mm), total=2) in RelativeCS2
  Rectangle8_1_1_1_1_1.delete()
  Rectangle19_1_1_1_1_1_1 = Rectangle19_1_1_1_1_1.duplicate_along_line(step=(-12.759233mm, 0mm, 0mm), total=2) in RelativeCS2
  Rectangle19_1_1_1_1_1.delete()
  Rectangle3_1_1_1_1_1_1 = Rectangle3_1_1_1_1_1.duplicate_along_line(step=(-12.759233mm, 0mm, 0mm), total=2) in RelativeCS2
  Rectangle3_1_1_1_1_1.delete()
  Rectangle14_1_1_1_1_1_1 = Rectangle14_1_1_1_1_1.duplicate_along_line(step=(-12.759233mm, 0mm, 0mm), total=2) in RelativeCS2
  Rectangle14_1_1_1_1_1.delete()
  Rectangle28 = rectangle(corner=(0.6mm, -22.5mm, 0mm), z_size=-0.3mm, x_size=0.8mm) in RelativeCS2
  Rectangle29 = rectangle(corner=(23.240767mm, -15.4mm, 0mm), y_size=0.8mm, z_size=-0.3mm) in RelativeCS2
  Rectangle30 = rectangle(corner=(16.140767mm, 7.5mm, 0mm), z_size=-0.3mm, x_size=-0.80076655mm) in RelativeCS2
  Radbox [vacuum] = box(corner=(-10mm, -26mm, -2mm), size=(38mm, 38mm, 4mm)) in RelativeCS2
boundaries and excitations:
  PerfE2: Perfect E Objects=Fl
  PerfE3: Perfect E Objects=Ground
  PerfE4: Perfect E Objects=Rectangle3
  PerfE5: Perfect E Objects=Rectangle8
  PerfE6: Perfect E Objects=Rectangle14
  PerfE7: Perfect E Objects=Rectangle19
  PerfE8: Perfect E Objects=Fl_1
  PerfE9: Perfect E Objects=Ground_1
  PerfE10: Perfect E Objects=Rectangle3_1
  PerfE11: Perfect E Objects=Rectangle8_1
  PerfE12: Perfect E Objects=Rectangle14_1
  PerfE13: Perfect E Objects=Rectangle19_1
  PerfE31: Perfect E Objects=Rectangle24
  PerfE32: Perfect E Objects=Fl_1_1_1
  PerfE33: Perfect E Objects=Rectangle3_1_1_1
  PerfE34: Perfect E Objects=Rectangle8_1_1_1
  PerfE35: Perfect E Objects=Rectangle14_1_1_1
  PerfE36: Perfect E Objects=Rectangle19_1_1_1
  PerfE37: Perfect E Objects=Rectangle26
  PerfE48: Perfect E Objects=Fl_1_1_1_1_1_1
  PerfE49: Perfect E Objects=Rectangle3_1_1_1_1_1_1
  PerfE50: Perfect E Objects=Rectangle8_1_1_1_1_1_1
  PerfE51: Perfect E Objects=Rectangle14_1_1_1_1_1_1
  PerfE52: Perfect E Objects=Rectangle19_1_1_1_1_1_1
  Rad1: Radiation Objects=Radbox
  1: Lumped Port Objects=Rectangle2 LumpedPortType=Modal Modes{Mode1{IntLine{(0, 7.5, 0.15) -> (0, 7.5, 0.3)} CharImp=Zpi RenormImp=50ohm}} Impedance=50ohm
  5: Lumped Port Objects=Rectangle28 LumpedPortType=Modal Modes{Mode1{IntLine{(7.7592334, -15, 0) -> (7.7592334, -15, 0.3)} CharImp=Zpi RenormImp=50ohm}} Impedance=50ohm
  6: Lumped Port Objects=Rectangle29 LumpedPortType=Modal Modes{Mode1{IntLine{(30, -7.5, 0) -> (30, -7.5, 0.3)} CharImp=Zpi RenormImp=50ohm}} Impedance=50ohm
  7: Lumped Port Objects=Rectangle30 LumpedPortType=Modal Modes{Mode1{IntLine{(22.5, 15, 0) -> (22.499617, 15, 0.3)} CharImp=Zpi RenormImp=50ohm}} Impedance=50ohm
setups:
  Setup1: HfssDriven MultipleAdaptiveFreqsSetup{AdaptAt{Frequency=28GHz Delta=0.02} AdaptAt{Frequency=36GHz Delta=0.02}} MaximumPasses=8 MinimumPasses=1 MinimumConvergedPasses=1 PercentRefinement=30 BasisOrder=1 PortAccuracy=2 DrivenSolverType="Direct Solver"
    sweep Sweep: 26GHz to 40GHz, 401 points; Type=Fast SaveFields
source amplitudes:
  1:1: 1V 0deg
  5:1, 6:1, 7:1: 0V 0deg
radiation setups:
  Infinite Sphere1: Infinite Sphere Theta=0deg..360deg step 2deg Phi=-180deg..180deg step 2deg
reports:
  With SRR: dB(S(1,1)) vs Freq on Setup1 : Sweep
  S Parameter Plot 2: dB(S(1,1)), dB(S(5,1)), dB(S(6,1)), dB(S(7,1)) vs Freq on Setup1 : Sweep
  MIMO - 4: dB(S(1,1)), dB(S(5,1)), dB(S(6,1)), dB(S(7,1)) vs Freq on Setup1 : Sweep; markers m1 at 27.61GHz, m2 at 33.84GHz, m3 at 33.91GHz, m4 at 26.21GHz
  90: dB(GainTotal) vs Theta on Setup1 : LastAdaptive, Infinite Sphere1 [Phi=90deg Freq=28GHz]
  180: dB(GainTotal) vs Theta on Setup1 : LastAdaptive, Infinite Sphere1 [Phi=180deg Freq=28GHz]
  174: dB(GainTotal) vs Theta on Setup1 : LastAdaptive, Infinite Sphere1 [Phi=174deg Freq=28GHz]; dB(GainTotal) vs Theta
  Gain 3D: dB(GainTotal) vs Phi, Theta on Setup1 : LastAdaptive, Infinite Sphere1 [Freq=28GHz]

design MIMO - FR4 (HFSS, HFSS Modal Network, model units mm)
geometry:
  Ground = rectangle(corner=(0mm, 0mm, 0mm), x_size=15mm, y_size=15mm)
  Substrate [FR4_epoxy] = box(corner=(0mm, 0mm, 0mm), size=(15mm, 15mm, 0.3mm))
  Fl = rectangle(corner=(0mm, 7.1mm, 0.3mm), x_size=10mm, y_size=0.8mm)
  Uout = rectangle(corner=(10mm, 5.25mm, 0.3mm), x_size=2.5mm, y_size=4.5mm)
  Usubtracted = rectangle(corner=(10.4mm, 5.65mm, 0.3mm), x_size=2.1mm, y_size=3.7mm)
  Uout.subtract(Usubtracted)
  Fl.unite(Uout)
  Rectangle1 = rectangle(corner=(10.725mm, 4.95mm, 0mm), x_size=1.8mm, y_size=5.1mm)
  Rectangle2 = rectangle(corner=(0mm, 7.9mm, 0.3mm), y_size=-0.8mm, z_size=-0.3mm)
  Ground.subtract(Rectangle1)
  Rectangle3 = rectangle(corner=(7.5mm, 9.375mm, 0.3mm), x_size=1.5mm, y_size=0.2mm)
  Rectangle4 = rectangle(corner=(7.5mm, 8.075mm, 0.3mm), x_size=0.2mm, y_size=1.5mm)
  Rectangle5 = rectangle(corner=(7.5mm, 8.075mm, 0.3mm), x_size=1.5mm, y_size=0.2mm)
  Rectangle6 = rectangle(corner=(8.8mm, 8.075mm, 0.3mm), x_size=0.2mm, y_size=1.5mm)
  Rectangle7 = rectangle(corner=(8.8mm, 8.75mm, 0.3mm), x_size=0.2mm, y_size=0.15mm)
  Rectangle6.subtract(Rectangle7)
  Rectangle8 = rectangle(corner=(7.5mm, 6.725mm, 0.3mm), x_size=1.5mm, y_size=0.2mm)
  Rectangle9 = rectangle(corner=(7.5mm, 5.425mm, 0.3mm), x_size=0.2mm, y_size=1.5mm)
  Rectangle10 = rectangle(corner=(7.5mm, 5.425mm, 0.3mm), x_size=1.5mm, y_size=0.2mm)
  Rectangle11 = rectangle(corner=(8.8mm, 5.425mm, 0.3mm), x_size=0.2mm, y_size=1.5mm)
  Rectangle12 = rectangle(corner=(8.8mm, 8.95mm, 0.3mm), x_size=0.2mm, y_size=0.15mm)
  Rectangle11.subtract(Rectangle12)
  Rectangle13 = rectangle(corner=(8.8mm, 6.105mm, 0.3mm), x_size=0.2mm, y_size=0.15mm)
  Rectangle11.subtract(Rectangle13)
  Rectangle14 = rectangle(corner=(7.85mm, 8.425mm, 0.3mm), x_size=0.2mm, y_size=0.8mm)
  Rectangle15 = rectangle(corner=(7.85mm, 8.425mm, 0.3mm), x_size=0.8mm, y_size=0.2mm)
  Rectangle16 = rectangle(corner=(7.85mm, 9.025mm, 0.3mm), x_size=0.8mm, y_size=0.2mm)
  Rectangle17 = rectangle(corner=(8.45mm, 8.425mm, 0.3mm), x_size=0.2mm, y_size=0.8mm)
  Rectangle18 = rectangle(corner=(7.85mm, 8.75mm, 0.3mm), x_size=0.2mm, y_size=0.15mm)
  Rectangle14.subtract(Rectangle18)
  Rectangle19 = rectangle(corner=(7.85mm, 5.775mm, 0.3mm), x_size=0.8mm, y_size=0.2mm)
  Rectangle20 = rectangle(corner=(7.85mm, 5.775mm, 0.3mm), x_size=0.2mm, y_size=0.8mm)
  Rectangle21 = rectangle(corner=(7.85mm, 6.375mm, 0.3mm), x_size=0.8mm, y_size=0.2mm)
  Rectangle22 = rectangle(corner=(8.45mm, 5.775mm, 0.3mm), x_size=0.2mm, y_size=0.8mm)
  Rectangle23 = rectangle(corner=(7.85mm, 6.105mm, 0.3mm), x_size=0.2mm, y_size=0.15mm)
  Rectangle20.subtract(Rectangle23)
  Rectangle3.unite(Rectangle4, Rectangle5, Rectangle6)
  Rectangle8.unite(Rectangle9, Rectangle10, Rectangle11)
  Rectangle14.unite(Rectangle15, Rectangle16, Rectangle17)
  Rectangle19.unite(Rectangle20, Rectangle21, Rectangle22)
  coordinate_system RelativeCS1 = origin=(0mm, 0mm, 0mm) x=(1mm, 0mm, 0mm) y=(0mm, 1mm, 0mm)
  coordinate_system RelativeCS2 = origin=(6.7592334mm, 7.5mm, 0.3mm) x=(1mm, 0mm, 0mm) y=(0mm, 1mm, 0mm) in RelativeCS1
  Ground_1 = Ground.duplicate_along_line(step=(15mm, 0mm, 0mm), total=2) in RelativeCS2
  Substrate_1 [FR4_epoxy] = Substrate.duplicate_along_line(step=(15mm, 0mm, 0mm), total=2) in RelativeCS2
  Fl_1 = Fl.duplicate_along_line(step=(15mm, 0mm, 0mm), total=2) in RelativeCS2
  Rectangle3_1 = Rectangle3.duplicate_along_line(step=(15mm, 0mm, 0mm), total=2) in RelativeCS2
  Rectangle8_1 = Rectangle8.duplicate_along_line(step=(15mm, 0mm, 0mm), total=2) in RelativeCS2
  Rectangle14_1 = Rectangle14.duplicate_along_line(step=(15mm, 0mm, 0mm), total=2) in RelativeCS2
  Rectangle19_1 = Rectangle19.duplicate_along_line(step=(15mm, 0mm, 0mm), total=2) in RelativeCS2
  [Ground_1, Substrate_1, Fl_1, Rectangle3_1, Rectangle8_1, Rectangle14_1, Rectangle19_1].mirror(point=(8.2407666mm, 7.5mm, 0mm), normal=(-0.70710678mm, -0.70710678mm, 0mm)) in RelativeCS2
  Substrate_2 [FR4_epoxy] = Substrate.duplicate_along_line(step=(0mm, -15mm, 0mm), total=2) in RelativeCS2
  Substrate_2_1 = Substrate_2.duplicate_along_line(step=(15mm, -2.6645353e-15mm, 0mm), total=2) in RelativeCS2
  Substrate_2_1.move(15mm, 0mm, 0mm) in RelativeCS2
  Substrate_2_1_1 [FR4_epoxy] = Substrate_2_1.duplicate_along_line(step=(-15mm, 0mm, 0mm), total=2) in RelativeCS2
  Substrate_2_1.delete()
  Rectangle24 = rectangle(corner=(8.2407666mm, -22.5mm, -0.3mm), x_size=15mm, y_size=15mm) in RelativeCS2
  Rectangle25 = rectangle(corner=(9.9375mm, -18mm, -0.3mm), x_size=1.8mm, y_size=5.1mm) in RelativeCS2
  Rectangle25.move(0.6625mm, 0.45mm, 0mm) in RelativeCS2
  Rectangle25.move(0.1mm, 0mm, 0mm) in RelativeCS2
  Rectangle25.move(-0.1mm, 0mm, 0mm) in RelativeCS2
  Rectangle24.subtract(Rectangle25)
  Fl_1_1 = Fl_1.duplicate_along_line(step=(-7.5mm, 3.5527137e-15mm, 0mm), total=2) in RelativeCS2
  Rectangle8_1_1 = Rectangle8_1.duplicate_along_line(step=(-7.5mm, 3.5527137e-15mm, 0mm), total=2) in RelativeCS2
  Rectangle19_1_1 = Rectangle19_1.duplicate_along_line(step=(-7.5mm, 3.5527137e-15mm, 0mm), total=2) in RelativeCS2
  Rectangle14_1_1 = Rectangle14_1.duplicate_along_line(step=(-7.5mm, 3.5527137e-15mm, 0mm), total=2) in RelativeCS2
  Rectangle3_1_1 = Rectangle3_1.duplicate_along_line(step=(-7.5mm, 3.5527137e-15mm, 0mm), total=2) in RelativeCS2
  [Fl_1_1, Rectangle19_1_1, Rectangle8_1_1, Rectangle3_1_1, Rectangle14_1_1].move(-1.4210855e-14mm, -30mm, 0mm) in RelativeCS2
  [Fl_1_1, Rectangle8_1_1, Rectangle19_1_1, Rectangle14_1_1, Rectangle3_1_1].rotate(axis=Z, angle=-180deg) in RelativeCS2
  Rectangle26 = rectangle(corner=(8.2407666mm, -7.5mm, -0.3mm), x_size=-15mm, y_size=-15mm) in RelativeCS2
  [Fl_1_1, Rectangle8_1_1, Rectangle19_1_1, Rectangle14_1_1, Rectangle3_1_1].move(-0.25923345mm, -45mm, 0mm) in RelativeCS2
  Fl_1_1_1 = Fl_1_1.duplicate_along_line(step=(9.5mm, 0mm, 0mm), total=2) in RelativeCS2
  Fl_1_1.delete()
  Rectangle8_1_1_1 = Rectangle8_1_1.duplicate_along_line(step=(9.5mm, 0mm, 0mm), total=2) in RelativeCS2
  Rectangle8_1_1.delete()
  Rectangle19_1_1_1 = Rectangle19_1_1.duplicate_along_line(step=(9.5mm, 0mm, 0mm), total=2) in RelativeCS2
  Rectangle19_1_1.delete()
  Rectangle14_1_1_1 = Rectangle14_1_1.duplicate_along_line(step=(9.5mm, 0mm, 0mm), total=2) in RelativeCS2
  Rectangle14_1_1.delete()
  Rectangle3_1_1_1 = Rectangle3_1_1.duplicate_along_line(step=(9.5mm, 0mm, 0mm), total=2) in RelativeCS2
  Rectangle3_1_1.delete()
  Rectangle27 = rectangle(corner=(-1.55mm, -11.8mm, -0.3mm), x_size=5.1mm, y_size=1.8mm) in RelativeCS2
  Rectangle26.subtract(Rectangle27)
  Fl_1_1_1_1 = Fl_1_1_1.duplicate_along_line(step=(0mm, -13.5mm, 0mm), total=2) in RelativeCS2
  Rectangle3_1_1_1_1 = Rectangle3_1_1_1.duplicate_along_line(step=(0mm, -13.5mm, 0mm), total=2) in RelativeCS2
  Rectangle14_1_1_1_1 = Rectangle14_1_1_1.duplicate_along_line(step=(0mm, -13.5mm, 0mm), total=2) in RelativeCS2
  Rectangle8_1_1_1_1 = Rectangle8_1_1_1.duplicate_along_line(step=(0mm, -13.5mm, 0mm), total=2) in RelativeCS2
  Rectangle19_1_1_1_1 = Rectangle19_1_1_1.duplicate_along_line(step=(0mm, -13.5mm, 0mm), total=2) in RelativeCS2
  [Fl_1_1_1_1, Rectangle3_1_1_1_1, Rectangle14_1_1_1_1, Rectangle8_1_1_1_1, Rectangle19_1_1_1_1].rotate(axis=Z, angle=90deg) in RelativeCS2
  Fl_1_1_1_1_1 = Fl_1_1_1_1.duplicate_along_line(step=(0mm, -16mm, 0mm), total=2) in RelativeCS2
  Fl_1_1_1_1.delete()
  Rectangle8_1_1_1_1_1 = Rectangle8_1_1_1_1.duplicate_along_line(step=(0mm, -16mm, 0mm), total=2) in RelativeCS2
  Rectangle8_1_1_1_1.delete()
  Rectangle19_1_1_1_1_1 = Rectangle19_1_1_1_1.duplicate_along_line(step=(0mm, -16mm, 0mm), total=2) in RelativeCS2
  Rectangle19_1_1_1_1.delete()
  Rectangle3_1_1_1_1_1 = Rectangle3_1_1_1_1.duplicate_along_line(step=(0mm, -16mm, 0mm), total=2) in RelativeCS2
  Rectangle3_1_1_1_1.delete()
  Rectangle14_1_1_1_1_1 = Rectangle14_1_1_1_1.duplicate_along_line(step=(0mm, -16mm, 0mm), total=2) in RelativeCS2
  Rectangle14_1_1_1_1.delete()
  Fl_1_1_1_1_1_1 = Fl_1_1_1_1_1.duplicate_along_line(step=(-12.759233mm, 0mm, 0mm), total=2) in RelativeCS2
  Fl_1_1_1_1_1.delete()
  Rectangle8_1_1_1_1_1_1 = Rectangle8_1_1_1_1_1.duplicate_along_line(step=(-12.759233mm, 0mm, 0mm), total=2) in RelativeCS2
  Rectangle8_1_1_1_1_1.delete()
  Rectangle19_1_1_1_1_1_1 = Rectangle19_1_1_1_1_1.duplicate_along_line(step=(-12.759233mm, 0mm, 0mm), total=2) in RelativeCS2
  Rectangle19_1_1_1_1_1.delete()
  Rectangle3_1_1_1_1_1_1 = Rectangle3_1_1_1_1_1.duplicate_along_line(step=(-12.759233mm, 0mm, 0mm), total=2) in RelativeCS2
  Rectangle3_1_1_1_1_1.delete()
  Rectangle14_1_1_1_1_1_1 = Rectangle14_1_1_1_1_1.duplicate_along_line(step=(-12.759233mm, 0mm, 0mm), total=2) in RelativeCS2
  Rectangle14_1_1_1_1_1.delete()
  Rectangle28 = rectangle(corner=(0.6mm, -22.5mm, 0mm), z_size=-0.3mm, x_size=0.8mm) in RelativeCS2
  Rectangle29 = rectangle(corner=(23.240767mm, -15.4mm, 0mm), y_size=0.8mm, z_size=-0.3mm) in RelativeCS2
  Rectangle30 = rectangle(corner=(16.140767mm, 7.5mm, 0mm), z_size=-0.3mm, x_size=-0.80076655mm) in RelativeCS2
  Radbox [vacuum] = box(corner=(-10mm, -26mm, -2mm), size=(38mm, 38mm, 4mm)) in RelativeCS2
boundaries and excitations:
  PerfE2: Perfect E Objects=Fl
  PerfE3: Perfect E Objects=Ground
  PerfE4: Perfect E Objects=Rectangle3
  PerfE5: Perfect E Objects=Rectangle8
  PerfE6: Perfect E Objects=Rectangle14
  PerfE7: Perfect E Objects=Rectangle19
  PerfE8: Perfect E Objects=Fl_1
  PerfE9: Perfect E Objects=Ground_1
  PerfE10: Perfect E Objects=Rectangle3_1
  PerfE11: Perfect E Objects=Rectangle8_1
  PerfE12: Perfect E Objects=Rectangle14_1
  PerfE13: Perfect E Objects=Rectangle19_1
  PerfE31: Perfect E Objects=Rectangle24
  PerfE32: Perfect E Objects=Fl_1_1_1
  PerfE33: Perfect E Objects=Rectangle3_1_1_1
  PerfE34: Perfect E Objects=Rectangle8_1_1_1
  PerfE35: Perfect E Objects=Rectangle14_1_1_1
  PerfE36: Perfect E Objects=Rectangle19_1_1_1
  PerfE37: Perfect E Objects=Rectangle26
  PerfE48: Perfect E Objects=Fl_1_1_1_1_1_1
  PerfE49: Perfect E Objects=Rectangle3_1_1_1_1_1_1
  PerfE50: Perfect E Objects=Rectangle8_1_1_1_1_1_1
  PerfE51: Perfect E Objects=Rectangle14_1_1_1_1_1_1
  PerfE52: Perfect E Objects=Rectangle19_1_1_1_1_1_1
  Rad1: Radiation Objects=Radbox
  1: Lumped Port Objects=Rectangle2 LumpedPortType=Modal Modes{Mode1{IntLine{(0, 7.5, 0.15) -> (0, 7.5, 0.3)} CharImp=Zpi RenormImp=50ohm}} Impedance=50ohm
  5: Lumped Port Objects=Rectangle28 LumpedPortType=Modal Modes{Mode1{IntLine{(7.7592334, -15, 0) -> (7.7592334, -15, 0.3)} CharImp=Zpi RenormImp=50ohm}} Impedance=50ohm
  6: Lumped Port Objects=Rectangle29 LumpedPortType=Modal Modes{Mode1{IntLine{(30, -7.5, 0) -> (30, -7.5, 0.3)} CharImp=Zpi RenormImp=50ohm}} Impedance=50ohm
  7: Lumped Port Objects=Rectangle30 LumpedPortType=Modal Modes{Mode1{IntLine{(22.5, 15, 0) -> (22.499617, 15, 0.3)} CharImp=Zpi RenormImp=50ohm}} Impedance=50ohm
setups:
  Setup1: HfssDriven MultipleAdaptiveFreqsSetup{AdaptAt{Frequency=26GHz Delta=0.02} AdaptAt{Frequency=28GHz Delta=0.02}} MaximumPasses=8 MinimumPasses=1 MinimumConvergedPasses=1 PercentRefinement=30 BasisOrder=1 PortAccuracy=2 DrivenSolverType="Direct Solver"
    sweep Sweep: 26GHz to 40GHz, 401 points; Type=Fast SaveFields
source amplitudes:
  1:1: 1V 0deg
  5:1, 6:1, 7:1: 0V 0deg
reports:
  With SRR: dB(S(1,1)) vs Freq on Setup1 : Sweep
  S Parameter Plot 2: dB(S(1,1)), dB(S(5,1)), dB(S(6,1)), dB(S(7,1)) vs Freq on Setup1 : Sweep
  FR4 S-Parameter: dB(S(1,1)), dB(S(5,1)), dB(S(6,1)), dB(S(7,1)) vs Freq on Setup1 : Sweep; markers m1 at 28.8GHz, m2 at 32.65GHz, m3 at 31.635GHz, m4 at 34.47GHz, m5 at 31.6GHz, m6 at 34.33GHz, m7 at 32.37GHz, m8 at 39.685GHz
